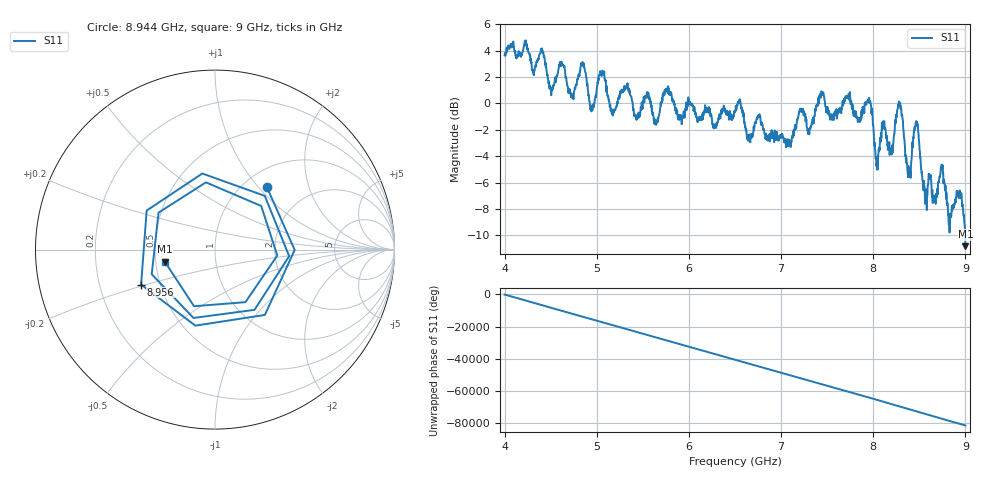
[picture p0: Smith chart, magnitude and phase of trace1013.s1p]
! Created with skrf 1.8.0 (http://scikit-rf.org).
# Hz S RI R 50.0
!freq ReS11 ImS11
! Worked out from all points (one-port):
!   1601 points, 4 GHz to 9 GHz, reference 50 ohm
!   lowest |S11| = -10.8 dB at 9 GHz (marker M1), VSWR 1.81, Z = 27.9 - j4.06 ohm
!   |S11| at or under -10 dB: 8.998199 GHz to end of sweep
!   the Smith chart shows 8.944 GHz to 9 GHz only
!   S11 on the Smith chart (normalised r, x): 8.944 GHz: 1.26, +1.11; 8.956 GHz: 0.39, -0.19; 9 GHz: 0.56, -0.08
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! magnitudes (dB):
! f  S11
! 4 GHz  3.6
! 4.406 GHz  4.2
! 4.509 GHz  0.9
! 4.625 GHz  3.0
! 4.725 GHz  0.8
! 4.853 GHz  2.9
! 4.944 GHz  -0.5
! 5.056 GHz  2.3
! 5.162 GHz  -0.7
! 5.25 GHz  0.4
! 5.875 GHz  -0.7
! 6.5 GHz  -0.6
! 7.125 GHz  -2.4
! 7.441 GHz  0.7
! 7.75 GHz  0.4
! 7.966 GHz  0.2
! 8.044 GHz  -4.6
! 8.109 GHz  -1.4
! 8.203 GHz  -3.4
! 8.288 GHz  0.0
! 8.375 GHz  -5.3
! 8.466 GHz  -1.3
! 8.562 GHz  -7.6
! 8.741 GHz  -4.7
! 8.825 GHz  -8.6
! 8.944 GHz  -6.9
! 8.956 GHz  -6.8
! 9 GHz  -10.8
